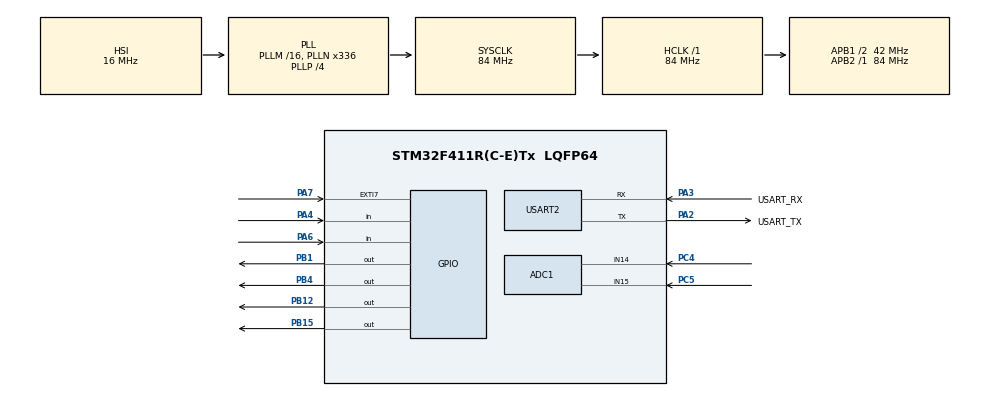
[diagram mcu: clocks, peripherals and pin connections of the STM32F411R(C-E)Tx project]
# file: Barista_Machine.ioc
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ADC1.Channel-0\#ChannelRegularConversion=ADC_CHANNEL_14
ADC1.NbrOfConversionFlag=1
ADC1.Rank-0\#ChannelRegularConversion=1
ADC1.SamplingTime-0\#ChannelRegularConversion=ADC_SAMPLETIME_3CYCLES
ADC1.master=1
Mcu.Family=STM32F4
Mcu.Name=STM32F411R(C-E)Tx
Mcu.Package=LQFP64
NVIC.EXTI9_5_IRQn=true\:0\:0\:false\:false\:true\:true\:true\:true
NVIC.PriorityGroup=NVIC_PRIORITYGROUP_0
PA13.GPIO_Label=TMS
PA13.Mode=Serial_Wire
PA13.Signal=SYS_JTMS-SWDIO
PA14.GPIO_Label=TCK
PA14.Mode=Serial_Wire
PA14.Signal=SYS_JTCK-SWCLK
PA2.GPIO_Label=USART_TX
PA2.Mode=Asynchronous
PA2.Signal=USART2_TX
PA3.GPIO_Label=USART_RX
PA3.Mode=Asynchronous
PA3.Signal=USART2_RX
PA4.Signal=GPIO_Input
PA6.Signal=GPIO_Input
PA7.Signal=GPXTI7
PB1.Signal=GPIO_Output
PB12.Signal=GPIO_Output
PB15.Signal=GPIO_Output
PB3.GPIO_Label=SWO
PB3.Signal=SYS_JTDO-SWO
PB4.Signal=GPIO_Output
PC14-OSC32_IN.Mode=LSE-External-Oscillator
PC14-OSC32_IN.Signal=RCC_OSC32_IN
PC15-OSC32_OUT.Mode=LSE-External-Oscillator
PC15-OSC32_OUT.Signal=RCC_OSC32_OUT
PC4.Signal=ADCx_IN14
PC5.Signal=ADCx_IN15
PH0\ -\ OSC_IN.Mode=HSE-External-Clock-Source
PH0\ -\ OSC_IN.Signal=RCC_OSC_IN
PH1\ -\ OSC_OUT.Mode=HSE-External-Clock-Source
PH1\ -\ OSC_OUT.Signal=RCC_OSC_OUT
ProjectManager.HeapSize=0x200
ProjectManager.StackSize=0x400
ProjectManager.TargetToolchain=STM32CubeIDE
RCC.48MHZClocksFreq_Value=84000000
RCC.AHBFreq_Value=84000000
RCC.APB1CLKDivider=RCC_HCLK_DIV2
RCC.APB1Freq_Value=42000000
RCC.APB1TimFreq_Value=84000000
RCC.APB2Freq_Value=84000000
RCC.APB2TimFreq_Value=84000000
RCC.CortexFreq_Value=84000000
RCC.FLatency-AdvancedSettings=FLASH_LATENCY_2
RCC.HCLKFreq_Value=84000000
RCC.HSE_VALUE=8000000
RCC.HSI_VALUE=16000000
RCC.PLLN=336
RCC.PLLP=RCC_PLLP_DIV4
RCC.SYSCLKFreq_VALUE=84000000
RCC.SYSCLKSource=RCC_SYSCLKSOURCE_PLLCLK
RCC.VCOOutputFreq_Value=336000000
SH.ADCx_IN14.0=ADC1_IN14,IN14
SH.ADCx_IN15.0=ADC1_IN15,IN15
TIM10.Prescaler=8000-1
USART2.VirtualMode=VM_ASYNC
VP_TIM10_VS_ClockSourceINT.Mode=Enable_Timer
board=NUCLEO-F411RE

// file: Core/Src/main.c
/* USER CODE BEGIN Header */
/**
  ******************************************************************************
  * @file           : main.c
  * @brief          : Main program body
  ******************************************************************************
  * @attention
  *
  * Copyright (c) 2022 STMicroelectronics.
  * All rights reserved.
  *
  * This software is licensed under terms that can be found in the LICENSE file
  * in the root directory of this software component.
  * If no LICENSE file comes with this software, it is provided AS-IS.
  *
  *
  ******************************************************************************
  */
/* USER CODE END Header */
#include "main.h"

/* USER CODE BEGIN Includes */
#include <stdio.h>

#include <string.h>

#include "pin_config.h"

/* USER CODE END Includes */

/* USER CODE BEGIN PTD */
typedef enum state_t{
	IDLE, // 0
	ON,
	ONE_CUP,
	TWO_CUPS,
	HEATING,
	FEHLER,
}STATE; // global state literal

typedef enum ADC_Pin{
	TEMP = 14,
	TANK = 15,
}ADC_Pin; // ADC Pin literals

/* USER CODE END PTD */

/* USER CODE BEGIN PD */

#define TRANSMIT_TIMEOUT 0xFF
#define DEBOUNCE_DELAY 40
#define BUFFER_SIZE 64			// message buffer size

#define TEMP_HOT 3000
#define WATER_LEVEL_LOW 1000

#define CUP_1_TIME 5
#define CUP_2_TIME 10

#define ONEHZ 5000
#define FIVEHZ 1000

#define OFF 0
/* USER CODE END PD */

ADC_HandleTypeDef hadc1;

TIM_HandleTypeDef htim10;

UART_HandleTypeDef huart2;

/* USER CODE BEGIN PV */

static int global_state = IDLE;			// initialize global state to IDLE (0)

static uint8_t buffer[BUFFER_SIZE];		// global message buffer

static uint16_t timer_val; 				// global timer variable
/* USER CODE END PV */

void SystemClock_Config(void);
static void MX_GPIO_Init(void);
static void MX_USART2_UART_Init(void);
static void MX_ADC1_Init(void);
static void MX_TIM10_Init(void);
/* USER CODE BEGIN PFP */

void set_global_state(STATE s);
void ADC_Select_CH14();
void ADC_Select_CH15();
uint16_t get_analog_state(ADC_Pin adc);
uint16_t get_temp();
uint16_t get_water_level();
void transmit_sensors(uint16_t* vals, uint8_t* msg);
void transmit_state(STATE s, uint8_t* msg);

/* USER CODE END PFP */

/* USER CODE BEGIN 0 */
/*
void HAL_GPIO_EXTI_Callback(uint16_t GPIO_Pin)
{
	if(GPIO_Pin == ON_OFF_KEY)
	{
		if(global_state == IDLE)
		{
			set_global_state(ON);
		}else{
			set_global_state(IDLE);
			HAL_GPIO_WritePin(GPIOB, LED_CONTROL, 0);
			HAL_GPIO_WritePin(GPIOB, HEATER_CONTROL, 0);
			HAL_GPIO_WritePin(GPIOB, PUMP_CONTROL, 0);
		}

	}
}
*/

void set_global_state(STATE s)
{
	/* Only touch global_state with this function */
	global_state = s;
	transmit_state(s, buffer);
	return;
}

void ADC_Select_CH14()
{
	/* Select ADC Channel for readout */
	ADC_ChannelConfTypeDef sConfig = {0};

	sConfig.Channel = ADC_CHANNEL_14;
	sConfig.Rank = 1;
	sConfig.SamplingTime = ADC_SAMPLETIME_3CYCLES;

	if (HAL_ADC_ConfigChannel(&hadc1, &sConfig) != HAL_OK)
	{
	  Error_Handler();
	}
}

void ADC_Select_CH15()
{
	/* Select ADC Channel for readout */
	ADC_ChannelConfTypeDef sConfig = {0};

	sConfig.Channel = ADC_CHANNEL_15;
	sConfig.Rank = 1;
	sConfig.SamplingTime = ADC_SAMPLETIME_3CYCLES;

	if (HAL_ADC_ConfigChannel(&hadc1, &sConfig) != HAL_OK)
	{
	  Error_Handler();
	}
}

uint16_t get_analog_state(ADC_Pin adc)
{
	/* get the analog value (Temperature or Fill Level) from ADCs */
	uint16_t value = 0;

	switch(adc){
		case TEMP:
			ADC_Select_CH14();
			HAL_ADC_Start(&hadc1);
			HAL_ADC_PollForConversion(&hadc1, 1000);

			value = HAL_ADC_GetValue(&hadc1);

			HAL_ADC_Stop(&hadc1);
			break;

		case TANK:
			ADC_Select_CH15();
			HAL_ADC_Start(&hadc1);
			HAL_ADC_PollForConversion(&hadc1, 1000);

			value = HAL_ADC_GetValue(&hadc1);

			HAL_ADC_Stop(&hadc1);
			break;

		default:
			break;
	}

	return value;
}

uint16_t get_temp()
{
	/* get temperature */
	return get_analog_state(TEMP);
}

uint16_t get_water_level()
{
	/* get fill level */
	return get_analog_state(TANK);
}

void transmit_sensors(uint16_t* vals, uint8_t* msg)
{
	/* Transmit the sensor values */
	 vals[0] = get_temp();
	 vals[1] = get_water_level();

	 sprintf((char*)msg, "%d,%d\r\n", vals[0], vals[1]);

	 HAL_UART_Transmit(&huart2, msg, 64, 0xFF);

	 return;
}

void transmit_state(STATE s, uint8_t* msg)
{
	/* Transmit the global state */
	switch(global_state){
		case IDLE:
			sprintf((char*)msg, "State: IDLE\r\n");
			break;
		case ON:
			sprintf((char*)msg, "State: ON\r\n");
			break;
		case ONE_CUP:
			sprintf((char*)msg, "State: ONE_CUP\r\n");
			break;
		case TWO_CUPS:
			sprintf((char*)msg, "State: TWO_CUPS\r\n");
			break;
		case HEATING:
			sprintf((char*)msg, "State: HEATING\r\n");
			break;
		case FEHLER:
			sprintf((char*)msg, "State: FEHLER\r\n");
			break;
		default:
			break;
	}

	HAL_UART_Transmit(&huart2, msg, 64, 0xFF);

	for(int i = 0; i != BUFFER_SIZE; ++i)
	{
		// reset the message buffer
		buffer[i] = '\r';
	}

	return;
}

void on_startup()
{
	/* Message transmitted on startup */
	char* startup_message = "****************************\r\n" \
							"\tBARISTA PROJECT\t\r\n" \
							"\t J. Hoersch\r\n\t W. Klaffke\r\n" \
							"\t PRM WS 2022\r\n****************************\r\n";

	HAL_UART_Transmit(&huart2, (uint8_t*)startup_message, strlen(startup_message), TRANSMIT_TIMEOUT);

	return;
}

void get_buttons(void)
{
	/* Read States of Power, CUP_1 and CUP_2 Keys */
	if(HAL_GPIO_ReadPin(GPIOA, ON_OFF_KEY) != 0)
	{

		if(global_state == IDLE)
		{
			// Turn ON if Power Button is pressed
			set_global_state(ON);
			HAL_GPIO_WritePin(GPIOB, LED_CONTROL, 1);

			on_startup();

		}else if(global_state == ON){
			// Turn OFF if Power Button is pressed in state ON
			set_global_state(IDLE);
			HAL_GPIO_WritePin(GPIOB, LED_CONTROL, 0);
		}

		while(HAL_GPIO_ReadPin(GPIOA, ON_OFF_KEY) != 0) // Debouncing
		{
			HAL_Delay(DEBOUNCE_DELAY);
		}
	}

	if(HAL_GPIO_ReadPin(GPIOA, CUP_1_KEY) != 0 && global_state == ON)
	{
		/* Can only be activated if global_state is ON */
		set_global_state(ONE_CUP);

		while(HAL_GPIO_ReadPin(GPIOA, CUP_1_KEY) != 0) // Debouncing
		{
			HAL_Delay(DEBOUNCE_DELAY);
		}
	}

	if(HAL_GPIO_ReadPin(GPIOA, CUP_2_KEY) != 0 && global_state == ON)
	{
		/* Can only be activated if global_state is ON */
		set_global_state(TWO_CUPS);

		while(HAL_GPIO_ReadPin(GPIOA, CUP_2_KEY) != 0) // Debouncing
		{
			HAL_Delay(DEBOUNCE_DELAY);
		}

	}

	return;
}

//typedef uint16_t FREQ;
//
//void blink_control(FREQ f)
//{
//	static int previous_state;
//
//	switch(f){
//		case 1:
//
//	}
//}

void heater(uint16_t state)
{
	if(state == ON)
	{
		  HAL_GPIO_WritePin(GPIOB, HEATER_CONTROL, 1);
	}
	else{
		  HAL_GPIO_WritePin(GPIOB, HEATER_CONTROL, RESET);
	}

	return;
}

void pump(uint16_t state)
{
	if(state == ON)
	{
		  HAL_GPIO_WritePin(GPIOB, PUMP_CONTROL, 1);
	}
	else{
		  HAL_GPIO_WritePin(GPIOB, PUMP_CONTROL, RESET);
	}

	return;
}

void LED_blink(uint16_t state)
{

}

/* USER CODE END 0 */

int main(void)
{

  /* MCU Configuration--------------------------------------------------------*/

  /* Reset of all peripherals, Initializes the Flash interface and the Systick. */
  HAL_Init();

  /* Configure the system clock */
  SystemClock_Config();

  /* Initialize all configured peripherals */
  MX_GPIO_Init();
  MX_USART2_UART_Init();
  MX_ADC1_Init();
  MX_TIM10_Init();
  /* USER CODE BEGIN 2 */

  HAL_TIM_Base_Start(&htim10);

  uint16_t vals[2];

  int secs = 0; // Tracking the seconds the control LED has been blinking

  /* USER CODE END 2 */

  /* Infinite loop */
  /* USER CODE BEGIN WHILE */
  while (1)
  {
//	  transmit_sensors(vals, buffer);
	  get_buttons();

	  switch(global_state){
	  	  case IDLE:
	  		  break; // IDLE

	  	  case ON:
	  		  HAL_GPIO_WritePin(GPIOB, LED_CONTROL, 1);

	  		  if(get_water_level() < WATER_LEVEL_LOW)
	  		  {
	  			  set_global_state(FEHLER);
	  		  }

	  		  if(get_temp() < TEMP_HOT)
	  		  {
	  			  set_global_state(HEATING);
	  		  }

	  		  break; // ON

	  	  case ONE_CUP:
	  		  heater(ON);
	  		  pump(ON);
//	  		  transmit_sensors(vals, buffer);

//	  		  if(__HAL_TIM_GET_COUNTER(&htim10) - timer_val >= 5000)
	  		  if(__HAL_TIM_GET_COUNTER(&htim10) >= ONEHZ)
	  		  {
	  			  HAL_GPIO_TogglePin(GPIOB, LED_CONTROL);
//	  			  timer_val = __HAL_TIM_GET_COUNTER(&htim10);
	  			  __HAL_TIM_SET_COUNTER(&htim10, 0);
	  			  secs++;
	  		  }
	  		  if(secs > CUP_1_TIME*2)
	  		  {
	  			  secs = 0;
	  			  set_global_state(ON);
		  		  heater(OFF);
		  		  pump(OFF);
	  		  }

	  		  break; // ONE_CUP

	  	  case TWO_CUPS:
	  		  heater(ON);
	  		  pump(ON);
//	  		  transmit_sensors(vals, buffer);

//	  		  if(__HAL_TIM_GET_COUNTER(&htim10) - timer_val >= 1000)
	  		  if(__HAL_TIM_GET_COUNTER(&htim10) >= FIVEHZ)
	  		  {
	  			  HAL_GPIO_TogglePin(GPIOB, LED_CONTROL);
//	  			  timer_val = __HAL_TIM_GET_COUNTER(&htim10);
	  			  __HAL_TIM_SET_COUNTER(&htim10, 0);
	  			  secs++;
	  		  }

	  		  if(secs > CUP_2_TIME*5)
	  		  {
	  			  secs = 0;
	  			  set_global_state(ON);
		  		  heater(OFF);
		  		  pump(OFF);

	  		  }
	  		  break; // TWO_CUPS

	  	  case HEATING:
	  		  heater(ON);
	  		  if(get_temp() >= TEMP_HOT)
	  		  {
		  		  heater(OFF);
	  			  set_global_state(ON);
	  		  }
	  		  break; // HEATING

	  	  case FEHLER:
	  		  if(__HAL_TIM_GET_COUNTER(&htim10) - timer_val >= 1000)
	  		  {
	  			  HAL_GPIO_TogglePin(GPIOB, LED_CONTROL);
	  			  timer_val = __HAL_TIM_GET_COUNTER(&htim10);
	  		  }

	  		  if(get_water_level() >= WATER_LEVEL_LOW)
	  		  {
	  			  set_global_state(ON);
	  		  }
	  		  break; // FEHLER

	  	  default:
	  		  break; // default
	  } // switch

	 }
    /* USER CODE END WHILE */

}

void SystemClock_Config(void)
{
  RCC_OscInitTypeDef RCC_OscInitStruct = {0};
  RCC_ClkInitTypeDef RCC_ClkInitStruct = {0};

  /** Configure the main internal regulator output voltage
  */
  __HAL_RCC_PWR_CLK_ENABLE();
  __HAL_PWR_VOLTAGESCALING_CONFIG(PWR_REGULATOR_VOLTAGE_SCALE1);

  /** Initializes the RCC Oscillators according to the specified parameters
  * in the RCC_OscInitTypeDef structure.
  */
  RCC_OscInitStruct.OscillatorType = RCC_OSCILLATORTYPE_HSI;
  RCC_OscInitStruct.HSIState = RCC_HSI_ON;
  RCC_OscInitStruct.HSICalibrationValue = RCC_HSICALIBRATION_DEFAULT;
  RCC_OscInitStruct.PLL.PLLState = RCC_PLL_ON;
  RCC_OscInitStruct.PLL.PLLSource = RCC_PLLSOURCE_HSI;
  RCC_OscInitStruct.PLL.PLLM = 16;
  RCC_OscInitStruct.PLL.PLLN = 336;
  RCC_OscInitStruct.PLL.PLLP = RCC_PLLP_DIV4;
  RCC_OscInitStruct.PLL.PLLQ = 4;
  if (HAL_RCC_OscConfig(&RCC_OscInitStruct) != HAL_OK)
  {
    Error_Handler();
  }

  /** Initializes the CPU, AHB and APB buses clocks
  */
  RCC_ClkInitStruct.ClockType = RCC_CLOCKTYPE_HCLK|RCC_CLOCKTYPE_SYSCLK
                              |RCC_CLOCKTYPE_PCLK1|RCC_CLOCKTYPE_PCLK2;
  RCC_ClkInitStruct.SYSCLKSource = RCC_SYSCLKSOURCE_PLLCLK;
  RCC_ClkInitStruct.AHBCLKDivider = RCC_SYSCLK_DIV1;
  RCC_ClkInitStruct.APB1CLKDivider = RCC_HCLK_DIV2;
  RCC_ClkInitStruct.APB2CLKDivider = RCC_HCLK_DIV1;

  if (HAL_RCC_ClockConfig(&RCC_ClkInitStruct, FLASH_LATENCY_2) != HAL_OK)
  {
    Error_Handler();
  }
}

static void MX_ADC1_Init(void)
{

  ADC_ChannelConfTypeDef sConfig = {0};

  /** Configure the global features of the ADC (Clock, Resolution, Data Alignment and number of conversion)
  */
  hadc1.Instance = ADC1;
  hadc1.Init.ClockPrescaler = ADC_CLOCK_SYNC_PCLK_DIV4;
  hadc1.Init.Resolution = ADC_RESOLUTION_12B;
  hadc1.Init.ScanConvMode = DISABLE;
  hadc1.Init.ContinuousConvMode = DISABLE;
  hadc1.Init.DiscontinuousConvMode = DISABLE;
  hadc1.Init.ExternalTrigConvEdge = ADC_EXTERNALTRIGCONVEDGE_NONE;
  hadc1.Init.ExternalTrigConv = ADC_SOFTWARE_START;
  hadc1.Init.DataAlign = ADC_DATAALIGN_RIGHT;
  hadc1.Init.NbrOfConversion = 1;
  hadc1.Init.DMAContinuousRequests = DISABLE;
  hadc1.Init.EOCSelection = ADC_EOC_SINGLE_CONV;
  if (HAL_ADC_Init(&hadc1) != HAL_OK)
  {
    Error_Handler();
  }

  /** Configure for the selected ADC regular channel its corresponding rank in the sequencer and its sample time.
  */
  sConfig.Channel = ADC_CHANNEL_14;
  sConfig.Rank = 1;
  sConfig.SamplingTime = ADC_SAMPLETIME_3CYCLES;
  if (HAL_ADC_ConfigChannel(&hadc1, &sConfig) != HAL_OK)
  {
    Error_Handler();
  }

}

static void MX_TIM10_Init(void)
{

  htim10.Instance = TIM10;
  htim10.Init.Prescaler = 8000-1;
  htim10.Init.CounterMode = TIM_COUNTERMODE_UP;
  htim10.Init.Period = 65535;
  htim10.Init.ClockDivision = TIM_CLOCKDIVISION_DIV1;
  htim10.Init.AutoReloadPreload = TIM_AUTORELOAD_PRELOAD_DISABLE;
  if (HAL_TIM_Base_Init(&htim10) != HAL_OK)
  {
    Error_Handler();
  }

}

static void MX_USART2_UART_Init(void)
{

  huart2.Instance = USART2;
  huart2.Init.BaudRate = 115200;
  huart2.Init.WordLength = UART_WORDLENGTH_8B;
  huart2.Init.StopBits = UART_STOPBITS_1;
  huart2.Init.Parity = UART_PARITY_NONE;
  huart2.Init.Mode = UART_MODE_TX_RX;
  huart2.Init.HwFlowCtl = UART_HWCONTROL_NONE;
  huart2.Init.OverSampling = UART_OVERSAMPLING_16;
  if (HAL_UART_Init(&huart2) != HAL_OK)
  {
    Error_Handler();
  }

}

static void MX_GPIO_Init(void)
{
  GPIO_InitTypeDef GPIO_InitStruct = {0};

  /* GPIO Ports Clock Enable */
  __HAL_RCC_GPIOC_CLK_ENABLE();
  __HAL_RCC_GPIOH_CLK_ENABLE();
  __HAL_RCC_GPIOA_CLK_ENABLE();
  __HAL_RCC_GPIOB_CLK_ENABLE();

  /*Configure GPIO pin Output Level */
  HAL_GPIO_WritePin(GPIOB, GPIO_PIN_1|GPIO_PIN_12|GPIO_PIN_15|GPIO_PIN_4, GPIO_PIN_RESET);

  /*Configure GPIO pins : PA4 PA6 */
  GPIO_InitStruct.Pin = GPIO_PIN_4|GPIO_PIN_6;
  GPIO_InitStruct.Mode = GPIO_MODE_INPUT;
  GPIO_InitStruct.Pull = GPIO_NOPULL;
  HAL_GPIO_Init(GPIOA, &GPIO_InitStruct);

  /*Configure GPIO pin : PA7 */
  GPIO_InitStruct.Pin = GPIO_PIN_7;
  GPIO_InitStruct.Mode = GPIO_MODE_IT_RISING;
  GPIO_InitStruct.Pull = GPIO_NOPULL;
  HAL_GPIO_Init(GPIOA, &GPIO_InitStruct);

  /*Configure GPIO pins : PB1 PB12 PB15 PB4 */
  GPIO_InitStruct.Pin = GPIO_PIN_1|GPIO_PIN_12|GPIO_PIN_15|GPIO_PIN_4;
  GPIO_InitStruct.Mode = GPIO_MODE_OUTPUT_PP;
  GPIO_InitStruct.Pull = GPIO_NOPULL;
  GPIO_InitStruct.Speed = GPIO_SPEED_FREQ_LOW;
  HAL_GPIO_Init(GPIOB, &GPIO_InitStruct);

  /* EXTI interrupt init*/
  HAL_NVIC_SetPriority(EXTI9_5_IRQn, 0, 0);
  HAL_NVIC_EnableIRQ(EXTI9_5_IRQn);

}

void Error_Handler(void)
{
  /* USER CODE BEGIN Error_Handler_Debug */
  /* User can add his own implementation to report the HAL error return state */
  __disable_irq();

  char msg[32];
  sprintf(msg, "Error_Handler: Reset board\r\n");
  HAL_UART_Transmit(&huart2, (uint8_t*)msg, strlen(msg), HAL_MAX_DELAY);

  while (1)
  {
  }
  /* USER CODE END Error_Handler_Debug */
}
